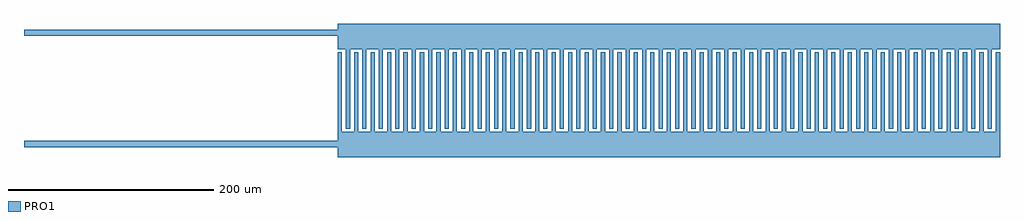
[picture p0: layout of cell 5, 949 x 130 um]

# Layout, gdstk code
import gdstk
lib = gdstk.Library(unit=1e-6, precision=1e-09)
def R(c, l, rs):  # rectangles x0, y0, x1, y1
    for r in rs: c.add(gdstk.rectangle(r[:2], r[2:], *l))
def P(c, l, *ps):  # polygons
    for p in ps: c.add(gdstk.Polygon(p, *l))
PRO1 = (2, 0)

c_5 = lib.new_cell('5')
R(c_5, PRO1, [(0,250,305,256), (0,358,305,364)])
P(c_5, PRO1, [(821,345),(813,345),(813,268),(809,268),(809,345),(805,345),(805,370),(821,370)],
  [(817,265),(817,342),(821,342),(821,240),(805,240),(805,265)],
  [(305,240),(305,342),(309,342),(309,265),(321,265),(321,342),(325,342),(325,265),(337,265),(337,342),(341,342),(341,265),(353,265),(353,342),(357,342),(357,265),(369,265),(369,342),(373,342),(373,265),(385,265),(385,342),(389,342),(389,265),(401,265),(401,342),(405,342),(405,265),(417,265),(417,342),(421,342),(421,265),(433,265),(433,342),(437,342),(437,265),(449,265),(449,342),(453,342),(453,265),(465,265),(465,342),(469,342),(469,265),(481,265),(481,342),(485,342),(485,265),(497,265),(497,342),(501,342),(501,265),(513,265),(513,342),(517,342),(517,265),(529,265),(529,342),(533,342),(533,265),(545,265),(545,342),(549,342),(549,265),(561,265),(561,342),(565,342),(565,265),(577,265),(577,342),(581,342),(581,265),(593,265),(593,342),(597,342),(597,265),(609,265),(609,342),(613,342),(613,265),(625,265),(625,342),(629,342),(629,265),(641,265),(641,342),(645,342),(645,265),(657,265),(657,342),(661,342),(661,265),(673,265),(673,342),(677,342),(677,265),(689,265),(689,342),(693,342),(693,265),(705,265),(705,342),(709,342),(709,265),(721,265),(721,342),(725,342),(725,265),(737,265),(737,342),(741,342),(741,265),(753,265),(753,342),(757,342),(757,265),(769,265),(769,342),(773,342),(773,265),(785,265),(785,342),(789,342),(789,265),(789,240)],
  [(781,345),(781,268),(777,268),(777,345),(765,345),(765,268),(761,268),(761,345),(749,345),(749,268),(745,268),(745,345),(733,345),(733,268),(729,268),(729,345),(717,345),(717,268),(713,268),(713,345),(701,345),(701,268),(697,268),(697,345),(685,345),(685,268),(681,268),(681,345),(669,345),(669,268),(665,268),(665,345),(653,345),(653,268),(649,268),(649,345),(637,345),(637,268),(633,268),(633,345),(621,345),(621,268),(617,268),(617,345),(605,345),(605,268),(601,268),(601,345),(589,345),(589,268),(585,268),(585,345),(573,345),(573,268),(569,268),(569,345),(557,345),(557,268),(553,268),(553,345),(541,345),(541,268),(537,268),(537,345),(525,345),(525,268),(521,268),(521,345),(509,345),(509,268),(505,268),(505,345),(493,345),(493,268),(489,268),(489,345),(477,345),(477,268),(473,268),(473,345),(461,345),(461,268),(457,268),(457,345),(445,345),(445,268),(441,268),(441,345),(429,345),(429,268),(425,268),(425,345),(413,345),(413,268),(409,268),(409,345),(397,345),(397,268),(393,268),(393,345),(381,345),(381,268),(377,268),(377,345),(365,345),(365,268),(361,268),(361,345),(349,345),(349,268),(345,268),(345,345),(333,345),(333,268),(329,268),(329,345),(317,345),(317,268),(313,268),(313,345),(305,345),(305,370),(789,370),(789,345)],
  [(797,345),(797,268),(793,268),(793,345),(789,345),(789,370),(805,370),(805,345)],
  [(801,265),(801,342),(805,342),(805,265),(805,240),(789,240),(789,265)],
  [(853,345),(845,345),(845,268),(841,268),(841,345),(837,345),(837,370),(853,370)],
  [(849,265),(849,342),(853,342),(853,240),(837,240),(837,265)],
  [(829,345),(829,268),(825,268),(825,345),(821,345),(821,370),(837,370),(837,345)],
  [(833,265),(833,342),(837,342),(837,265),(837,240),(821,240),(821,265)],
  [(885,345),(877,345),(877,268),(873,268),(873,345),(869,345),(869,370),(885,370)],
  [(881,265),(881,342),(885,342),(885,240),(869,240),(869,265)],
  [(861,345),(861,268),(857,268),(857,345),(853,345),(853,370),(869,370),(869,345)],
  [(865,265),(865,342),(869,342),(869,265),(869,240),(853,240),(853,265)],
  [(893,345),(893,268),(889,268),(889,345),(885,345),(885,370),(901,370),(901,345)],
  [(897,265),(897,342),(901,342),(901,265),(901,240),(885,240),(885,265)],
  [(933,345),(925,345),(925,268),(921,268),(921,345),(917,345),(917,370),(933,370)],
  [(929,265),(929,342),(933,342),(933,240),(917,240),(917,265)],
  [(909,345),(909,268),(905,268),(905,345),(901,345),(901,370),(917,370),(917,345)],
  [(913,265),(913,342),(917,342),(917,265),(917,240),(901,240),(901,265)],
  [(941,345),(941,268),(937,268),(937,345),(933,345),(933,370),(949,370),(949,345)],
  [(945,265),(945,342),(949,342),(949,265),(949,240),(933,240),(933,265)])

lib.write_gds('5.gds')
